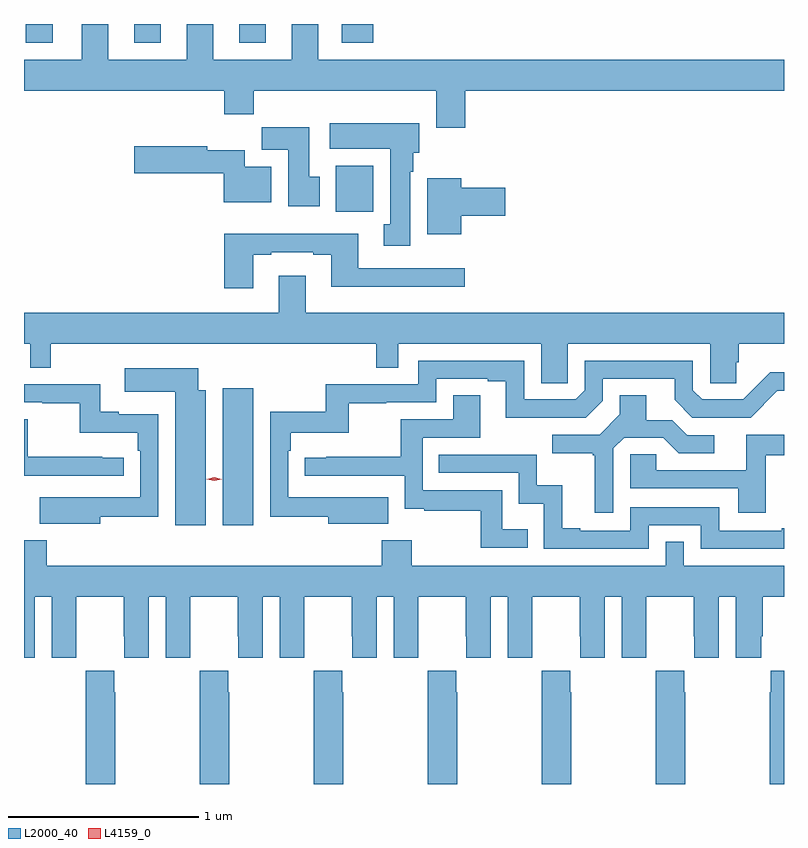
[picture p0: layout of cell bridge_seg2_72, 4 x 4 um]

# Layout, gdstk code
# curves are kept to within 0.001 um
import gdstk
lib = gdstk.Library(unit=1e-6, precision=1e-09)
def R(c, l, rs):  # rectangles x0, y0, x1, y1
    for r in rs: c.add(gdstk.rectangle(r[:2], r[2:], *l))
def P(c, l, *ps):  # polygons
    for p in ps: c.add(gdstk.Polygon(p, *l))
L2000_40 = (2000, 40)
L4159_0 = (4159, 0)

bridge_seg2_72 = lib.new_cell('bridge_seg2_72')
R(bridge_seg2_72, L2000_40, [(1032.044,622.704,1032.205,623.425), (1032.641,624.356,1032.838,624.598), (1031.009,625.245,1031.149,625.343), (1031.579,625.245,1031.719,625.343), (1032.131,625.245,1032.271,625.343), (1032.671,625.245,1032.836,625.343)])
P(bridge_seg2_72, L2000_40, [(1033.322,624.992),(1034.999,624.992),(1034.999,625.156),(1032.547,625.156),(1032.547,625.343),(1032.407,625.343),(1032.407,625.156),(1031.995,625.156),(1031.995,625.343),(1031.855,625.343),(1031.855,625.156),(1031.443,625.156),(1031.443,625.343),(1031.304,625.343),(1031.304,625.156),(1030.999,625.156),(1030.999,624.992),(1032.053,624.992),(1032.053,624.868),(1032.209,624.868),(1032.209,624.992),(1033.169,624.992),(1033.169,624.798),(1033.322,624.798)],
  [(1033.033,624.566),(1033.048,624.566),(1033.048,624.666),(1033.078,624.666),(1033.078,624.82),(1032.609,624.82),(1032.609,624.686),(1032.926,624.686),(1032.926,624.29),(1032.893,624.29),(1032.893,624.177),(1033.033,624.177)],
  [(1032.556,624.54),(1032.499,624.54),(1032.499,624.799),(1032.25,624.799),(1032.25,624.68),(1032.389,624.68),(1032.389,624.384),(1032.556,624.384)],
  [(1032.301,624.592),(1032.16,624.592),(1032.16,624.679),(1031.964,624.679),(1031.964,624.699),(1031.58,624.699),(1031.58,624.557),(1032.05,624.557),(1032.05,624.404),(1032.301,624.404)],
  [(1033.3,624.335),(1033.531,624.335),(1033.531,624.482),(1033.3,624.482),(1033.3,624.532),(1033.121,624.532),(1033.121,624.236),(1033.3,624.236)],
  [(1032.205,624.129),(1032.301,624.129),(1032.301,624.141),(1032.521,624.141),(1032.521,624.129),(1032.617,624.129),(1032.617,623.96),(1033.318,623.96),(1033.318,624.057),(1032.757,624.057),(1032.757,624.238),(1032.053,624.238),(1032.053,623.952),(1032.205,623.952)],
  [(1030.999,623.66),(1031.031,623.66),(1031.031,623.533),(1031.14,623.533),(1031.14,623.66),(1032.853,623.66),(1032.853,623.533),(1032.969,623.533),(1032.969,623.66),(1033.721,623.66),(1033.721,623.452),(1033.86,623.452),(1033.86,623.66),(1034.61,623.66),(1034.61,623.452),(1034.747,623.452),(1034.747,623.562),(1034.762,623.562),(1034.762,623.66),(1034.999,623.66),(1034.999,623.824),(1032.481,623.824),(1032.481,624.019),(1032.341,624.019),(1032.341,623.824),(1030.999,623.824)],
  [(1032.917,622.852),(1032.39,622.851),(1032.39,623.096),(1032.404,623.096),(1032.404,623.192),(1032.709,623.192),(1032.709,623.347),(1032.905,623.347),(1032.905,623.352),(1033.17,623.352),(1033.17,623.475),(1033.439,623.475),(1033.439,623.463),(1033.535,623.463),(1033.535,623.27),(1033.956,623.271),(1034.046,623.361),(1034.046,623.475),(1034.423,623.475),(1034.423,623.365),(1034.517,623.271),(1034.823,623.271),(1034.964,623.412),(1034.999,623.412),(1034.999,623.509),(1034.926,623.509),(1034.784,623.367),(1034.568,623.367),(1034.52,623.415),(1034.52,623.571),(1033.95,623.571),(1033.95,623.415),(1033.902,623.367),(1033.632,623.367),(1033.632,623.571),(1033.074,623.571),(1033.074,623.448),(1032.588,623.448),(1032.588,623.302),(1032.294,623.302),(1032.294,622.75),(1032.599,622.75),(1032.599,622.712),(1032.917,622.712)],
  [(1031.956,623.416),(1031.917,623.416),(1031.917,623.53),(1031.529,623.53),(1031.529,623.408),(1031.795,623.408),(1031.795,622.704),(1031.956,622.704)],
  [(1031.401,622.75),(1031.706,622.75),(1031.706,623.289),(1031.497,623.289),(1031.497,623.302),(1031.4,623.302),(1031.4,623.448),(1030.999,623.448),(1030.999,623.352),(1031.095,623.352),(1031.095,623.347),(1031.292,623.347),(1031.292,623.192),(1031.597,623.192),(1031.597,623.096),(1031.61,623.096),(1031.61,622.851),(1031.297,622.851),(1031.297,622.852),(1031.083,622.852),(1031.083,622.712),(1031.401,622.712)],
  [(1033.649,622.684),(1033.515,622.684),(1033.515,622.89),(1033.098,622.89),(1033.098,623.166),(1033.399,623.166),(1033.399,623.39),(1033.259,623.39),(1033.259,623.262),(1032.982,623.262),(1032.982,623.066),(1032.589,623.066),(1032.589,623.061),(1032.477,623.061),(1032.477,622.965),(1033.002,622.965),(1033.002,622.793),(1033.105,622.793),(1033.105,622.782),(1033.404,622.782),(1033.404,622.587),(1033.649,622.587)],
  [(1034.1,623.109),(1034.157,623.166),(1034.363,623.166),(1034.444,623.085),(1034.632,623.085),(1034.632,623.178),(1034.49,623.178),(1034.41,623.258),(1034.275,623.258),(1034.275,623.39),(1034.135,623.39),(1034.135,623.288),(1034.028,623.181),(1033.779,623.181),(1033.779,623.084),(1033.992,623.084),(1033.992,623.073),(1034.003,623.073),(1034.003,622.77),(1034.1,622.77)],
  [(1031.524,623.061),(1031.411,623.061),(1031.411,623.066),(1031.018,623.066),(1031.018,623.262),(1030.999,623.262),(1030.999,622.965),(1031.524,622.965)],
  [(1034.903,623.073),(1034.999,623.073),(1034.999,623.181),(1034.801,623.181),(1034.801,622.995),(1034.327,622.995),(1034.327,623.079),(1034.19,623.079),(1034.19,622.899),(1034.759,622.899),(1034.759,622.77),(1034.903,622.77)],
  [(1034.286,622.704),(1034.562,622.704),(1034.562,622.581),(1034.999,622.581),(1034.999,622.69),(1034.987,622.69),(1034.987,622.677),(1034.658,622.677),(1034.658,622.8),(1034.19,622.8),(1034.19,622.677),(1033.927,622.677),(1033.927,622.69),(1033.831,622.69),(1033.831,622.915),(1033.698,622.915),(1033.698,623.076),(1033.183,623.076),(1033.183,622.98),(1033.602,622.98),(1033.602,622.817),(1033.734,622.817),(1033.734,622.581),(1034.286,622.581)],
  [(1031.12,622.627),(1030.999,622.627),(1030.999,622.008),(1031.056,622.008),(1031.056,622.328),(1031.144,622.328),(1031.144,622.008),(1031.274,622.008),(1031.274,622.12),(1031.275,622.12),(1031.275,622.328),(1031.525,622.328),(1031.525,622.12),(1031.526,622.12),(1031.526,622.008),(1031.656,622.008),(1031.656,622.328),(1031.744,622.328),(1031.744,622.008),(1031.874,622.008),(1031.874,622.12),(1031.875,622.12),(1031.875,622.328),(1032.125,622.328),(1032.125,622.12),(1032.126,622.12),(1032.126,622.008),(1032.256,622.008),(1032.256,622.328),(1032.344,622.328),(1032.344,622.008),(1032.474,622.008),(1032.474,622.12),(1032.475,622.12),(1032.475,622.328),(1032.725,622.328),(1032.725,622.12),(1032.726,622.12),(1032.726,622.008),(1032.856,622.008),(1032.856,622.328),(1032.944,622.328),(1032.944,622.008),(1033.074,622.008),(1033.074,622.12),(1033.075,622.12),(1033.075,622.328),(1033.325,622.328),(1033.325,622.12),(1033.326,622.12),(1033.326,622.008),(1033.456,622.008),(1033.456,622.328),(1033.544,622.328),(1033.544,622.008),(1033.674,622.008),(1033.674,622.12),(1033.675,622.12),(1033.675,622.328),(1033.925,622.328),(1033.925,622.12),(1033.926,622.12),(1033.926,622.008),(1034.056,622.008),(1034.056,622.328),(1034.144,622.328),(1034.144,622.008),(1034.274,622.008),(1034.274,622.12),(1034.275,622.12),(1034.275,622.328),(1034.525,622.328),(1034.525,622.12),(1034.526,622.12),(1034.526,622.008),(1034.656,622.008),(1034.656,622.328),(1034.744,622.328),(1034.744,622.008),(1034.878,622.008),(1034.878,622.12),(1034.888,622.12),(1034.888,622.328),(1034.999,622.328),(1034.999,622.492),(1034.472,622.492),(1034.472,622.619),(1034.376,622.619),(1034.376,622.492),(1033.041,622.492),(1033.041,622.627),(1032.881,622.627),(1032.881,622.492),(1031.12,622.492)],
  [(1034.999,621.94),(1034.929,621.94),(1034.929,621.827),(1034.923,621.827),(1034.923,621.343),(1034.999,621.343)],
  [(1034.478,621.827),(1034.475,621.827),(1034.475,621.94),(1034.325,621.94),(1034.325,621.827),(1034.323,621.827),(1034.323,621.343),(1034.478,621.343)],
  [(1033.878,621.827),(1033.875,621.827),(1033.875,621.94),(1033.725,621.94),(1033.725,621.827),(1033.723,621.827),(1033.723,621.343),(1033.878,621.343)],
  [(1033.278,621.827),(1033.275,621.827),(1033.275,621.94),(1033.125,621.94),(1033.125,621.827),(1033.123,621.827),(1033.123,621.343),(1033.278,621.343)],
  [(1032.678,621.827),(1032.675,621.827),(1032.675,621.94),(1032.525,621.94),(1032.525,621.827),(1032.523,621.827),(1032.523,621.343),(1032.678,621.343)],
  [(1031.478,621.827),(1031.475,621.827),(1031.475,621.94),(1031.325,621.94),(1031.325,621.827),(1031.323,621.827),(1031.323,621.343),(1031.478,621.343)],
  [(1032.078,621.827),(1032.075,621.827),(1032.075,621.94),(1031.925,621.94),(1031.925,621.827),(1031.923,621.827),(1031.923,621.343),(1032.078,621.343)])
P(bridge_seg2_72, L4159_0, [(1032,622.938),(1031.96,622.948),(1031.96,622.948),(1031.96,622.948),(1032,622.958),(1032.04,622.948),(1032.04,622.948),(1032.04,622.948)])

lib.write_gds('bridge_seg2_72.gds')
